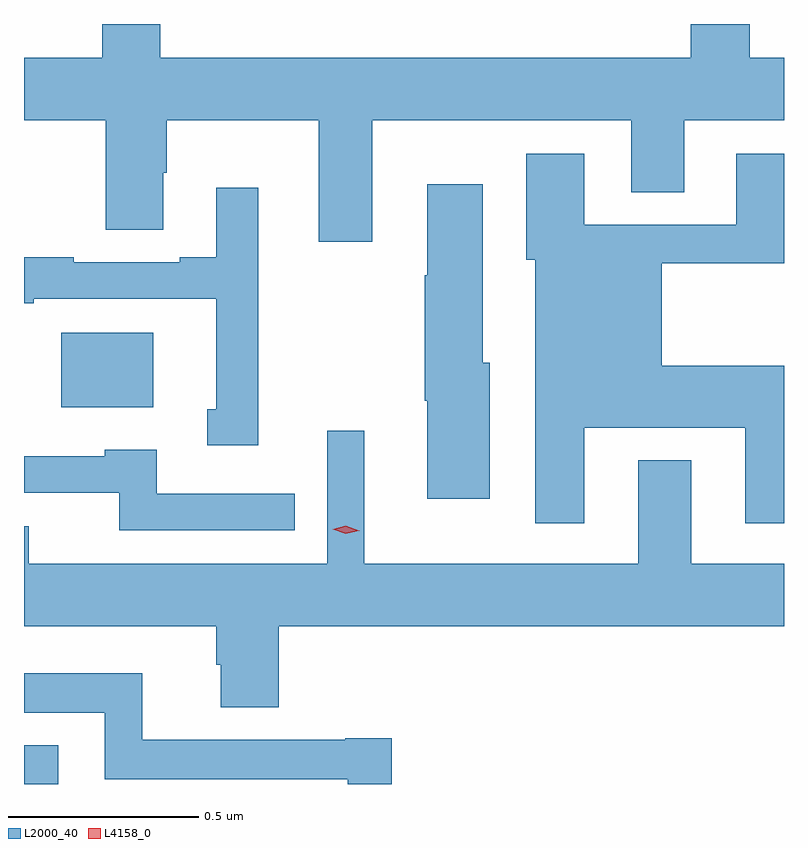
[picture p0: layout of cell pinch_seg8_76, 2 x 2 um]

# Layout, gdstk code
import gdstk
lib = gdstk.Library(unit=1e-6, precision=1e-09)
def R(c, l, rs):  # rectangles x0, y0, x1, y1
    for r in rs: c.add(gdstk.rectangle(r[:2], r[2:], *l))
def P(c, l, *ps):  # polygons
    for p in ps: c.add(gdstk.Polygon(p, *l))
L2000_40 = (2000, 40)
L4158_0 = (4158, 0)

pinch_seg8_76 = lib.new_cell('pinch_seg8_76')
R(pinch_seg8_76, L2000_40, [(922.407,1092.109,922.497,1092.211), (922.505,1093.1,922.747,1093.297)])
P(pinch_seg8_76, L2000_40, [(923.323,1093.856),(924.005,1093.856),(924.005,1093.666),(924.145,1093.666),(924.145,1093.856),(924.407,1093.856),(924.407,1094.02),(924.317,1094.02),(924.317,1094.109),(924.161,1094.109),(924.161,1094.02),(922.766,1094.02),(922.766,1094.109),(922.613,1094.109),(922.613,1094.02),(922.407,1094.02),(922.407,1093.856),(922.622,1093.856),(922.622,1093.567),(922.774,1093.567),(922.774,1093.718),(922.782,1093.718),(922.782,1093.856),(923.183,1093.856),(923.183,1093.536),(923.323,1093.536)],
  [(923.881,1093.046),(924.305,1093.046),(924.305,1092.795),(924.407,1092.795),(924.407,1093.21),(924.085,1093.21),(924.085,1093.48),(924.407,1093.48),(924.407,1093.768),(924.281,1093.768),(924.281,1093.581),(923.881,1093.581),(923.881,1093.768),(923.729,1093.768),(923.729,1093.488),(923.753,1093.488),(923.753,1092.795),(923.881,1092.795)],
  [(923.632,1093.218),(923.614,1093.218),(923.614,1093.687),(923.468,1093.687),(923.468,1093.448),(923.461,1093.448),(923.461,1093.118),(923.468,1093.118),(923.468,1092.86),(923.632,1092.86)],
  [(923.023,1093.678),(922.913,1093.678),(922.913,1093.495),(922.817,1093.495),(922.817,1093.482),(922.538,1093.482),(922.538,1093.495),(922.407,1093.495),(922.407,1093.374),(922.432,1093.374),(922.432,1093.386),(922.913,1093.386),(922.913,1093.095),(922.889,1093.095),(922.889,1093.001),(923.023,1093.001)],
  [(923.078,1092.524),(924.407,1092.524),(924.407,1092.688),(924.163,1092.688),(924.163,1092.961),(924.023,1092.961),(924.023,1092.688),(923.302,1092.688),(923.302,1093.039),(923.205,1093.039),(923.205,1092.688),(922.42,1092.688),(922.42,1092.787),(922.407,1092.787),(922.407,1092.524),(922.913,1092.524),(922.913,1092.423),(922.925,1092.423),(922.925,1092.311),(923.078,1092.311)],
  [(923.12,1092.873),(922.756,1092.873),(922.756,1092.988),(922.62,1092.988),(922.62,1092.972),(922.407,1092.972),(922.407,1092.876),(922.657,1092.876),(922.657,1092.777),(923.12,1092.777)],
  [(923.375,1092.229),(923.252,1092.229),(923.252,1092.226),(922.718,1092.226),(922.718,1092.4),(922.407,1092.4),(922.407,1092.296),(922.62,1092.296),(922.62,1092.122),(923.259,1092.122),(923.259,1092.109),(923.375,1092.109)])
P(pinch_seg8_76, L4158_0, [(923.254,1092.768),(923.219,1092.779),(923.218,1092.779),(923.219,1092.779),(923.254,1092.788),(923.289,1092.776),(923.29,1092.776),(923.289,1092.776)])

lib.write_gds('pinch_seg8_76.gds')
